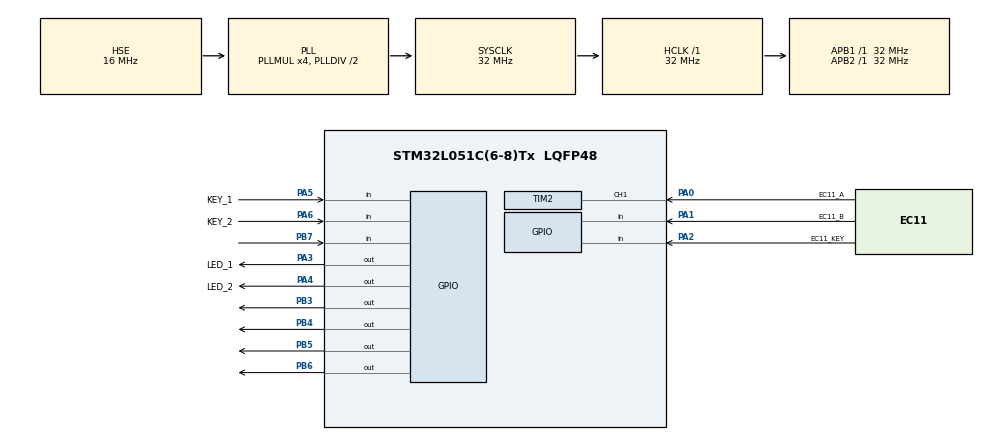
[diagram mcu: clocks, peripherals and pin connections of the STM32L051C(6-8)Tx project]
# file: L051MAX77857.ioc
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Mcu.Family=STM32L0
Mcu.Name=STM32L051C(6-8)Tx
Mcu.Package=LQFP48
NVIC.TIM2_IRQn=true\:0\:0\:false\:false\:true\:true\:true\:true
PA0.GPIO_Label=EC11_A
PA0.Signal=S_TIM2_CH1
PA1.GPIO_Label=EC11_B
PA1.Signal=GPIO_Input
PA13.Mode=Serial_Wire
PA13.Signal=SYS_SWDIO
PA14.Mode=Serial_Wire
PA14.Signal=SYS_SWCLK
PA2.GPIO_Label=EC11_KEY
PA2.GPIO_PuPd=GPIO_PULLUP
PA2.Signal=GPIO_Input
PA3.GPIO_Label=LED_1
PA3.GPIO_Speed=GPIO_SPEED_FREQ_VERY_HIGH
PA3.PinState=GPIO_PIN_RESET
PA3.Signal=GPIO_Output
PA4.GPIO_Label=LED_2
PA4.GPIO_Speed=GPIO_SPEED_FREQ_VERY_HIGH
PA4.Signal=GPIO_Output
PA5.GPIO_Label=KEY_1
PA5.GPIO_PuPd=GPIO_PULLUP
PA5.Signal=GPIO_Input
PA6.GPIO_Label=KEY_2
PA6.GPIO_PuPd=GPIO_PULLUP
PA6.Signal=GPIO_Input
PB3.GPIO_Speed=GPIO_SPEED_FREQ_VERY_HIGH
PB3.Signal=GPIO_Output
PB4.GPIO_Speed=GPIO_SPEED_FREQ_VERY_HIGH
PB4.Signal=GPIO_Output
PB5.GPIO_ModeDefaultOutputPP=GPIO_MODE_OUTPUT_OD
PB5.GPIO_PuPd=GPIO_PULLUP
PB5.GPIO_Speed=GPIO_SPEED_FREQ_VERY_HIGH
PB5.Signal=GPIO_Output
PB6.GPIO_ModeDefaultOutputPP=GPIO_MODE_OUTPUT_OD
PB6.GPIO_PuPd=GPIO_PULLUP
PB6.Signal=GPIO_Output
PB7.Signal=GPIO_Input
PH0-OSC_IN.Mode=HSE-External-Oscillator
PH0-OSC_IN.Signal=RCC_OSC_IN
PH1-OSC_OUT.Mode=HSE-External-Oscillator
PH1-OSC_OUT.Signal=RCC_OSC_OUT
ProjectManager.HeapSize=0x200
ProjectManager.StackSize=0x400
ProjectManager.TargetToolchain=STM32CubeIDE
RCC.AHBFreq_Value=32000000
RCC.APB1Freq_Value=32000000
RCC.APB1TimFreq_Value=32000000
RCC.APB2Freq_Value=32000000
RCC.APB2TimFreq_Value=32000000
RCC.HCLKFreq_Value=32000000
RCC.HSE_VALUE=16000000
RCC.HSI16_VALUE=16000000
RCC.HSI_VALUE=16000000
RCC.LSE_VALUE=32768
RCC.MSI_VALUE=2097000
RCC.PLLMUL=RCC_PLLMUL_4
RCC.PLLSourceVirtual=RCC_PLLSOURCE_HSE
RCC.SYSCLKFreq_VALUE=32000000
RCC.SYSCLKSource=RCC_SYSCLKSOURCE_PLLCLK
RCC.VCOOutputFreq_Value=64000000
SH.S_TIM2_CH1.0=TIM2_CH1,Input_Capture1_from_TI1
TIM2.AutoReloadPreload=TIM_AUTORELOAD_PRELOAD_ENABLE
TIM2.Channel-Input_Capture1_from_TI1=TIM_CHANNEL_1
TIM2.ICFilter_CH1=15
TIM2.Period=9
TIM2.Prescaler=3199
board=custom

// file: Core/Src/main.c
/* USER CODE BEGIN Header */
/**
  ******************************************************************************
  * @file           : main.c
  * @brief          : Main program body
  ******************************************************************************
  * @attention
  *
  * Copyright (c) 2023 STMicroelectronics.
  * All rights reserved.
  *
  * This software is licensed under terms that can be found in the LICENSE file
  * in the root directory of this software component.
  * If no LICENSE file comes with this software, it is provided AS-IS.
  *
  ******************************************************************************
  */
/* USER CODE END Header */
#include "main.h"

/* USER CODE BEGIN Includes */
#include "EntropyI2C.h"
#include "u8g2.h"
#include "u8g2_stm32.h"
#include "UI.h"
#include "MAX77857.h"
#include "bsp_sIIC.h"
/* USER CODE END Includes */

TIM_HandleTypeDef htim2;

void SystemClock_Config(void);
static void MX_GPIO_Init(void);
static void MX_TIM2_Init(void);
/* USER CODE BEGIN PFP */
#define EC11_CLOCKWISE 1
#define EC11_ANTI_CLOCKWISE 2
#define EC11_NOT_ROTATING 0
u8g2_t u8g2;
struct UI ui;
struct I2C_Port i2c_port;
struct MAX77857_Handler max77857Handler;
uint8_t EC11_state = 0;

void HAL_TIM_IC_CaptureCallback(TIM_HandleTypeDef *htim) {
    if (htim == &htim2) {
        if (HAL_GPIO_ReadPin(GPIOA, GPIO_PIN_1) == GPIO_PIN_SET) {
            volatile uint32_t dly = 355;
            while (dly)dly--;
            if (HAL_GPIO_ReadPin(GPIOA, GPIO_PIN_1) == GPIO_PIN_SET) {// 正转
                EC11_state = EC11_CLOCKWISE;
            }
        } else {//  反转
            volatile uint32_t dly = 355;
            while (dly)dly--;
            if (HAL_GPIO_ReadPin(GPIOA, GPIO_PIN_1) == GPIO_PIN_RESET) {// 正转

                EC11_state = EC11_ANTI_CLOCKWISE;
            }
        }
    }
}
void sync_with_max77857(){
    if(ui.output_state==UI_DO_OUTPUT){
        uint16_t vol = ui.voltage*10;
        uint8_t data = 0;
        data = vol>>3;//先写高8位
        entropy_write_register(&i2c_port,0x01,&data,1);
        data = vol&0x07;//再写低3位
        entropy_write_register(&i2c_port,0x00,&data,1);
        data = 1;
        entropy_write_register(&i2c_port,0x02,&data,1);//begin to change output voltage
//        MAX77857_enable(&max77857Handler);
//        MAX77857_set_output_voltage(&max77857Handler,ui.voltage/10.f);
//        HAL_GPIO_WritePin(GPIOA, GPIO_PIN_3, GPIO_PIN_SET);
//        HAL_GPIO_WritePin(GPIOA, GPIO_PIN_4, GPIO_PIN_SET);
    }else{
        uint8_t data = 0;//直接出0
        entropy_write_register(&i2c_port,0x01,&data,1);
        data = 1;
        entropy_write_register(&i2c_port,0x02,&data,1);//begin to change output voltage
//        MAX77857_disable(&max77857Handler);
//        HAL_GPIO_WritePin(GPIOA, GPIO_PIN_3, GPIO_PIN_RESET);
//        HAL_GPIO_WritePin(GPIOA, GPIO_PIN_4, GPIO_PIN_RESET);
    }

}
/* USER CODE END PFP */

int main(void)
{

  /* MCU Configuration--------------------------------------------------------*/

  /* Reset of all peripherals, Initializes the Flash interface and the Systick. */
  HAL_Init();

  /* Configure the system clock */
  SystemClock_Config();

  /* Initialize all configured peripherals */
  MX_GPIO_Init();
  MX_TIM2_Init();
  /* USER CODE BEGIN 2 */
    // Enable TIm2 interrupt to support ec11 encoder using interrupt mode
    HAL_TIM_IC_Start_IT(&htim2,TIM_CHANNEL_1);
    u8g2Init(&u8g2);
    UI_Init(&ui);
    UI_render_UI(&ui, &u8g2);
    i2c_port = entropy_get_i2c_port(GPIOB,GPIOB,GPIO_PIN_5,GPIO_PIN_6,0x6F);
//    MAX77857_enable(&max77857Handler);
//    MAX77857_init(&max77857Handler, &i2c_port, GPIOB, GPIO_PIN_7);
    sync_with_max77857();
    uint8_t data = 0;
    data = 0x7F;
    entropy_write_register(&i2c_port, 0x03, &data, 1);
    data = 0;
    entropy_read_register(&i2c_port, 0x03, &data, 1);//限流开满

  /* USER CODE END 2 */

  /* Infinite loop */
  /* USER CODE BEGIN WHILE */

    EC11_state = EC11_NOT_ROTATING;
    uint8_t do_update = 0;
    while (1) {
        if (EC11_state == EC11_CLOCKWISE && ui.locked==UI_UNLOCKED) {
            UI_update_voltage(&ui, ui.voltage - 1);
            EC11_state = EC11_NOT_ROTATING;
            do_update = 1;
        } else if (EC11_state == EC11_ANTI_CLOCKWISE && ui.locked==UI_UNLOCKED) {

            UI_update_voltage(&ui, ui.voltage + 1);

            EC11_state = EC11_NOT_ROTATING;
            do_update = 1;
        }
        if (HAL_GPIO_ReadPin(EC11_KEY_GPIO_Port, EC11_KEY_Pin) == GPIO_PIN_RESET && ui.locked==UI_UNLOCKED) {
            HAL_Delay(1);
            if (HAL_GPIO_ReadPin(EC11_KEY_GPIO_Port, EC11_KEY_Pin) == GPIO_PIN_RESET) {
                UI_switch_power(&ui);//切换输出与否
                do_update = 1;
            }
        }
        if (HAL_GPIO_ReadPin(KEY_1_GPIO_Port, KEY_1_Pin) == GPIO_PIN_RESET) {
            HAL_Delay(1);
            if (HAL_GPIO_ReadPin(KEY_1_GPIO_Port, KEY_1_Pin) == GPIO_PIN_RESET) {
                UI_switch_lock(&ui);//切换锁定与否
                do_update = 1;
            }
        }
        if (do_update) {
            UI_render_UI(&ui, &u8g2);
            sync_with_max77857();
            do_update = 0;
        }
    /* USER CODE END WHILE */

    }
}

void SystemClock_Config(void)
{
  RCC_OscInitTypeDef RCC_OscInitStruct = {0};
  RCC_ClkInitTypeDef RCC_ClkInitStruct = {0};

  /** Configure the main internal regulator output voltage
  */
  __HAL_PWR_VOLTAGESCALING_CONFIG(PWR_REGULATOR_VOLTAGE_SCALE1);

  /** Initializes the RCC Oscillators according to the specified parameters
  * in the RCC_OscInitTypeDef structure.
  */
  RCC_OscInitStruct.OscillatorType = RCC_OSCILLATORTYPE_HSE;
  RCC_OscInitStruct.HSEState = RCC_HSE_ON;
  RCC_OscInitStruct.PLL.PLLState = RCC_PLL_ON;
  RCC_OscInitStruct.PLL.PLLSource = RCC_PLLSOURCE_HSE;
  RCC_OscInitStruct.PLL.PLLMUL = RCC_PLLMUL_4;
  RCC_OscInitStruct.PLL.PLLDIV = RCC_PLLDIV_2;
  if (HAL_RCC_OscConfig(&RCC_OscInitStruct) != HAL_OK)
  {
    Error_Handler();
  }

  /** Initializes the CPU, AHB and APB buses clocks
  */
  RCC_ClkInitStruct.ClockType = RCC_CLOCKTYPE_HCLK|RCC_CLOCKTYPE_SYSCLK
                              |RCC_CLOCKTYPE_PCLK1|RCC_CLOCKTYPE_PCLK2;
  RCC_ClkInitStruct.SYSCLKSource = RCC_SYSCLKSOURCE_PLLCLK;
  RCC_ClkInitStruct.AHBCLKDivider = RCC_SYSCLK_DIV1;
  RCC_ClkInitStruct.APB1CLKDivider = RCC_HCLK_DIV1;
  RCC_ClkInitStruct.APB2CLKDivider = RCC_HCLK_DIV1;

  if (HAL_RCC_ClockConfig(&RCC_ClkInitStruct, FLASH_LATENCY_1) != HAL_OK)
  {
    Error_Handler();
  }
}

static void MX_TIM2_Init(void)
{

  TIM_MasterConfigTypeDef sMasterConfig = {0};
  TIM_IC_InitTypeDef sConfigIC = {0};

  htim2.Instance = TIM2;
  htim2.Init.Prescaler = 3199;
  htim2.Init.CounterMode = TIM_COUNTERMODE_UP;
  htim2.Init.Period = 9;
  htim2.Init.ClockDivision = TIM_CLOCKDIVISION_DIV1;
  htim2.Init.AutoReloadPreload = TIM_AUTORELOAD_PRELOAD_ENABLE;
  if (HAL_TIM_IC_Init(&htim2) != HAL_OK)
  {
    Error_Handler();
  }
  sMasterConfig.MasterOutputTrigger = TIM_TRGO_RESET;
  sMasterConfig.MasterSlaveMode = TIM_MASTERSLAVEMODE_DISABLE;
  if (HAL_TIMEx_MasterConfigSynchronization(&htim2, &sMasterConfig) != HAL_OK)
  {
    Error_Handler();
  }
  sConfigIC.ICPolarity = TIM_INPUTCHANNELPOLARITY_RISING;
  sConfigIC.ICSelection = TIM_ICSELECTION_DIRECTTI;
  sConfigIC.ICPrescaler = TIM_ICPSC_DIV1;
  sConfigIC.ICFilter = 15;
  if (HAL_TIM_IC_ConfigChannel(&htim2, &sConfigIC, TIM_CHANNEL_1) != HAL_OK)
  {
    Error_Handler();
  }

}

static void MX_GPIO_Init(void)
{
  GPIO_InitTypeDef GPIO_InitStruct = {0};

  /* GPIO Ports Clock Enable */
  __HAL_RCC_GPIOH_CLK_ENABLE();
  __HAL_RCC_GPIOA_CLK_ENABLE();
  __HAL_RCC_GPIOB_CLK_ENABLE();

  /*Configure GPIO pin Output Level */
  HAL_GPIO_WritePin(GPIOA, LED_1_Pin|LED_2_Pin, GPIO_PIN_RESET);

  /*Configure GPIO pin Output Level */
  HAL_GPIO_WritePin(GPIOB, GPIO_PIN_3|GPIO_PIN_4|GPIO_PIN_5|GPIO_PIN_6, GPIO_PIN_RESET);

  /*Configure GPIO pin : EC11_B_Pin */
  GPIO_InitStruct.Pin = EC11_B_Pin;
  GPIO_InitStruct.Mode = GPIO_MODE_INPUT;
  GPIO_InitStruct.Pull = GPIO_NOPULL;
  HAL_GPIO_Init(EC11_B_GPIO_Port, &GPIO_InitStruct);

  /*Configure GPIO pins : EC11_KEY_Pin KEY_1_Pin KEY_2_Pin */
  GPIO_InitStruct.Pin = EC11_KEY_Pin|KEY_1_Pin|KEY_2_Pin;
  GPIO_InitStruct.Mode = GPIO_MODE_INPUT;
  GPIO_InitStruct.Pull = GPIO_PULLUP;
  HAL_GPIO_Init(GPIOA, &GPIO_InitStruct);

  /*Configure GPIO pins : LED_1_Pin LED_2_Pin */
  GPIO_InitStruct.Pin = LED_1_Pin|LED_2_Pin;
  GPIO_InitStruct.Mode = GPIO_MODE_OUTPUT_PP;
  GPIO_InitStruct.Pull = GPIO_NOPULL;
  GPIO_InitStruct.Speed = GPIO_SPEED_FREQ_VERY_HIGH;
  HAL_GPIO_Init(GPIOA, &GPIO_InitStruct);

  /*Configure GPIO pins : PB3 PB4 */
  GPIO_InitStruct.Pin = GPIO_PIN_3|GPIO_PIN_4;
  GPIO_InitStruct.Mode = GPIO_MODE_OUTPUT_PP;
  GPIO_InitStruct.Pull = GPIO_NOPULL;
  GPIO_InitStruct.Speed = GPIO_SPEED_FREQ_VERY_HIGH;
  HAL_GPIO_Init(GPIOB, &GPIO_InitStruct);

  /*Configure GPIO pin : PB5 */
  GPIO_InitStruct.Pin = GPIO_PIN_5;
  GPIO_InitStruct.Mode = GPIO_MODE_OUTPUT_OD;
  GPIO_InitStruct.Pull = GPIO_PULLUP;
  GPIO_InitStruct.Speed = GPIO_SPEED_FREQ_VERY_HIGH;
  HAL_GPIO_Init(GPIOB, &GPIO_InitStruct);

  /*Configure GPIO pin : PB6 */
  GPIO_InitStruct.Pin = GPIO_PIN_6;
  GPIO_InitStruct.Mode = GPIO_MODE_OUTPUT_OD;
  GPIO_InitStruct.Pull = GPIO_PULLUP;
  GPIO_InitStruct.Speed = GPIO_SPEED_FREQ_LOW;
  HAL_GPIO_Init(GPIOB, &GPIO_InitStruct);

  /*Configure GPIO pin : PB7 */
  GPIO_InitStruct.Pin = GPIO_PIN_7;
  GPIO_InitStruct.Mode = GPIO_MODE_INPUT;
  GPIO_InitStruct.Pull = GPIO_NOPULL;
  HAL_GPIO_Init(GPIOB, &GPIO_InitStruct);

}

void Error_Handler(void)
{
    __disable_irq();
    while (1) {
    }
}
